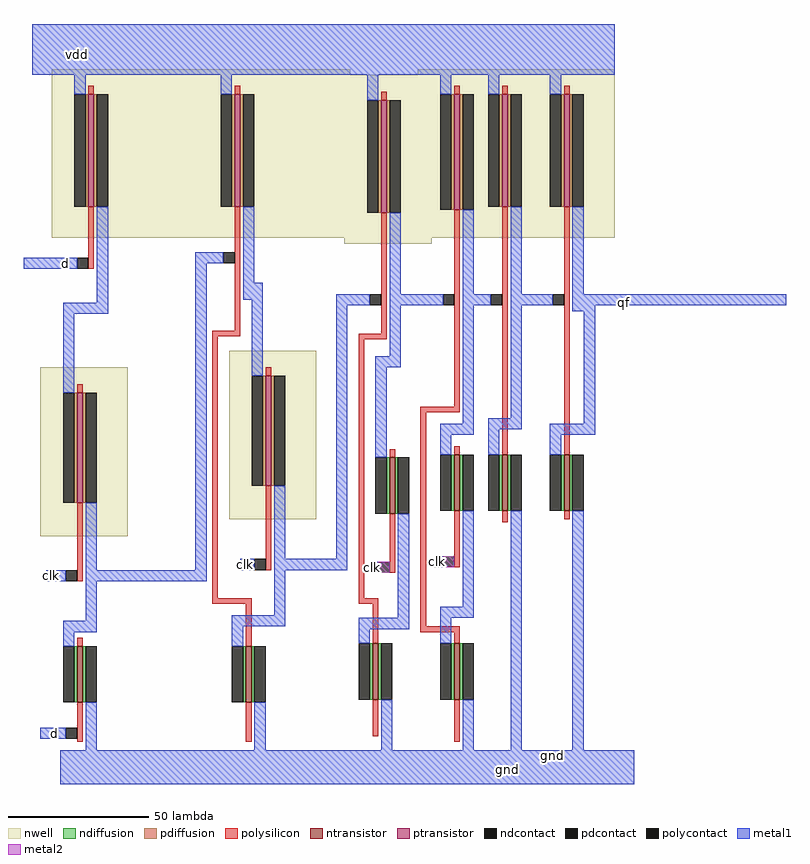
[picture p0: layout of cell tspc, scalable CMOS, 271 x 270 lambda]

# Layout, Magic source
magic
tech scmos
<< nwell >>
rect 107 24 213 26
rect 237 24 307 26
rect 107 -34 307 24
rect 211 -36 242 -34
rect 103 -140 134 -80
rect 170 -134 201 -74
<< ntransistor >>
rect 227 -132 229 -112
rect 250 -131 252 -111
rect 267 -131 269 -111
rect 289 -131 291 -111
rect 116 -199 118 -179
rect 176 -199 178 -179
rect 221 -198 223 -178
rect 250 -198 252 -178
<< ptransistor >>
rect 120 -23 122 17
rect 172 -23 174 17
rect 224 -25 226 15
rect 250 -24 252 17
rect 267 -23 269 17
rect 289 -23 291 17
rect 116 -128 118 -89
rect 183 -122 185 -83
<< ndiffusion >>
rect 226 -132 227 -112
rect 229 -132 230 -112
rect 249 -131 250 -111
rect 252 -131 253 -111
rect 266 -131 267 -111
rect 269 -131 270 -111
rect 288 -131 289 -111
rect 291 -131 292 -111
rect 115 -199 116 -179
rect 118 -199 119 -179
rect 175 -199 176 -179
rect 178 -199 179 -179
rect 220 -198 221 -178
rect 223 -198 224 -178
rect 249 -198 250 -178
rect 252 -198 253 -178
<< pdiffusion >>
rect 119 -23 120 17
rect 122 -23 123 17
rect 171 -23 172 17
rect 174 -23 175 17
rect 223 -25 224 15
rect 226 -25 227 15
rect 249 -24 250 17
rect 252 -24 253 17
rect 266 -23 267 17
rect 269 -23 270 17
rect 288 -23 289 17
rect 291 -23 292 17
rect 115 -128 116 -89
rect 118 -128 119 -89
rect 182 -122 183 -83
rect 185 -122 186 -83
<< ndcontact >>
rect 222 -132 226 -112
rect 230 -132 234 -112
rect 245 -131 249 -111
rect 253 -131 257 -111
rect 262 -131 266 -111
rect 270 -131 274 -111
rect 284 -131 288 -111
rect 292 -131 296 -111
rect 111 -199 115 -179
rect 119 -199 123 -179
rect 171 -199 175 -179
rect 179 -199 183 -179
rect 216 -198 220 -178
rect 224 -198 228 -178
rect 245 -198 249 -178
rect 253 -198 257 -178
<< pdcontact >>
rect 115 -23 119 17
rect 123 -23 127 17
rect 167 -23 171 17
rect 175 -23 179 17
rect 219 -25 223 15
rect 227 -25 231 15
rect 245 -24 249 17
rect 253 -24 257 17
rect 262 -23 266 17
rect 270 -23 274 17
rect 284 -23 288 17
rect 292 -23 296 17
rect 111 -128 115 -89
rect 119 -128 123 -89
rect 178 -122 182 -83
rect 186 -122 190 -83
<< polysilicon >>
rect 120 17 122 20
rect 172 17 174 20
rect 224 15 226 18
rect 250 17 252 20
rect 267 17 269 20
rect 289 17 291 20
rect 120 -45 122 -23
rect 172 -67 174 -23
rect 164 -69 174 -67
rect 224 -68 226 -25
rect 116 -89 118 -86
rect 116 -156 118 -128
rect 164 -162 166 -69
rect 216 -70 226 -68
rect 183 -83 185 -80
rect 183 -152 185 -122
rect 216 -162 218 -70
rect 250 -94 252 -24
rect 238 -96 252 -94
rect 227 -112 229 -109
rect 227 -153 229 -132
rect 164 -164 178 -162
rect 216 -164 223 -162
rect 116 -179 118 -176
rect 176 -179 178 -164
rect 221 -178 223 -164
rect 238 -172 240 -96
rect 250 -111 252 -108
rect 267 -111 269 -23
rect 289 -111 291 -23
rect 250 -151 252 -131
rect 267 -135 269 -131
rect 289 -134 291 -131
rect 238 -174 252 -172
rect 250 -178 252 -174
rect 116 -213 118 -199
rect 176 -213 178 -199
rect 221 -211 223 -198
rect 250 -213 252 -198
<< polycontact >>
rect 116 -45 120 -41
rect 168 -43 172 -39
rect 220 -58 224 -54
rect 246 -58 250 -54
rect 112 -156 116 -152
rect 179 -152 183 -148
rect 263 -58 267 -54
rect 223 -153 227 -149
rect 285 -58 289 -54
rect 246 -151 250 -147
rect 112 -212 116 -208
<< metal1 >>
rect 100 24 307 42
rect 115 17 119 24
rect 167 17 171 24
rect 97 -45 116 -41
rect 123 -57 127 -23
rect 111 -61 127 -57
rect 158 -43 168 -39
rect 111 -89 115 -61
rect 119 -152 123 -128
rect 158 -152 162 -43
rect 175 -50 179 -23
rect 219 15 223 24
rect 245 17 249 24
rect 262 17 266 24
rect 284 17 288 24
rect 175 -56 182 -50
rect 227 -54 231 -25
rect 253 -54 257 -24
rect 270 -54 274 -23
rect 292 -54 296 -23
rect 178 -83 182 -56
rect 208 -58 220 -54
rect 227 -58 246 -54
rect 253 -58 263 -54
rect 270 -58 285 -54
rect 292 -58 368 -54
rect 186 -148 190 -122
rect 208 -148 212 -58
rect 227 -76 231 -58
rect 222 -80 231 -76
rect 222 -112 226 -80
rect 253 -100 257 -58
rect 270 -98 274 -58
rect 292 -60 300 -58
rect 245 -104 257 -100
rect 262 -102 274 -98
rect 296 -100 300 -60
rect 245 -111 249 -104
rect 262 -111 266 -102
rect 284 -104 300 -100
rect 284 -111 288 -104
rect 174 -152 179 -148
rect 186 -152 212 -148
rect 105 -156 112 -152
rect 119 -156 162 -152
rect 119 -170 123 -156
rect 186 -168 190 -152
rect 220 -153 223 -149
rect 111 -174 123 -170
rect 171 -172 190 -168
rect 230 -169 234 -132
rect 243 -151 246 -147
rect 253 -165 257 -131
rect 111 -179 115 -174
rect 171 -179 175 -172
rect 216 -173 234 -169
rect 245 -169 257 -165
rect 216 -178 220 -173
rect 245 -178 249 -169
rect 103 -212 112 -208
rect 119 -216 123 -199
rect 179 -216 183 -199
rect 224 -216 228 -198
rect 253 -216 257 -198
rect 270 -216 274 -131
rect 292 -216 296 -131
rect 110 -228 314 -216
<< metal2 >>
rect 223 -153 227 -149
rect 246 -151 250 -147
<< labels >>
rlabel metal1 112 -43 112 -43 1 d
rlabel metal1 116 31 116 31 1 vdd
rlabel metal1 108 -210 108 -210 1 d
rlabel metal1 107 -154 107 -154 1 clk
rlabel metal1 310 -57 310 -57 1 qf
rlabel metal1 244 -149 244 -149 1 clk
rlabel metal1 221 -151 221 -151 1 clk
rlabel metal1 176 -150 176 -150 1 clk
rlabel metal1 285 -218 285 -218 1 gnd
rlabel metal1 269 -223 269 -223 1 gnd
<< end >>
